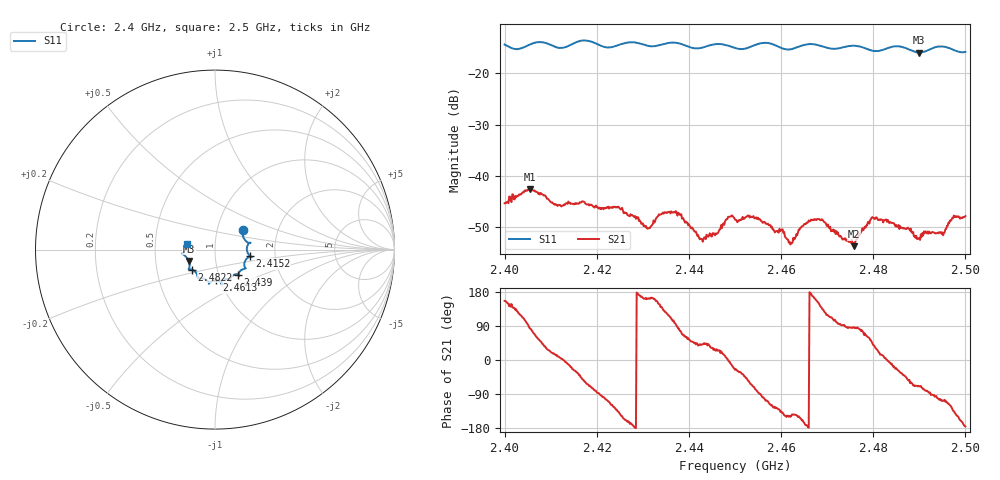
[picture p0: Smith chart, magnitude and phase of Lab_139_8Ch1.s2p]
# Hz S RI R 50
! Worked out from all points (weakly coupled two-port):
!   601 points, 2.4 GHz to 2.5 GHz, reference 50 ohm
!   highest |S21| = -42.62 dB at 2.4055 GHz (marker M1); lowest = -53.8 dB at 2.4758 GHz (marker M2)
!   lowest |S11| = -15.9 dB at 2.49 GHz (marker M3), VSWR 1.38, Z = 37 - j4.84 ohm
!   |S11| at or under -10 dB: start of sweep to end of sweep
!   S12 and S22 are empty: the file has one direction only
!   S11 on the Smith chart (normalised r, x): 2.4 GHz: 1.33, +0.31; 2.4152 GHz: 1.48, -0.11; 2.439 GHz: 1.24, -0.36; 2.4613 GHz: 0.96, -0.34; 2.4822 GHz: 0.76, -0.17; 2.5 GHz: 0.72, +0.05
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2.4e9  0.1555 0.1113  -0.00492 0.00219  0 0  0 0
2.4055e9  0.1875 0.038  0.000828 0.00735  0 0  0 0
2.411167e9  0.1795 0.0184  0.00508 0.00108  0 0  0 0
2.415167e9  0.1948 -0.0359  0.00469 -0.00248  0 0  0 0
2.416667e9  0.2045 -0.0419  0.00377 -0.00401  0 0  0 0
2.425e9  0.1654 -0.0958  -0.00377 -0.00295  0 0  0 0
2.431e9  0.148 -0.113  -0.0029 0.000932  0 0  0 0
2.433333e9  0.1325 -0.1324  -0.00346 0.00209  0 0  0 0
2.436667e9  0.1352 -0.1472  -0.0011 0.00425  0 0  0 0
2.439e9  0.1278 -0.139  0.00168 0.00323  0 0  0 0
2.442833e9  0.0914 -0.1527  0.00181 0.00158  0 0  0 0
2.45e9  0.0686 -0.1634  0.00335 -0.00161  0 0  0 0
2.455e9  0.0352 -0.1904  0.000296 -0.00388  0 0  0 0
2.461333e9  0.00773 -0.171  -0.002 -0.00133  0 0  0 0
2.4625e9  -0.00953 -0.1734  -0.00181 -0.00133  0 0  0 0
2.466667e9  -0.0337 -0.1902  -0.00362 0.000626  0 0  0 0
2.475833e9  -0.0938 -0.1608  0.000138 0.00205  0 0  0 0
2.4795e9  -0.1034 -0.1324  0.00232 0.00296  0 0  0 0
2.482167e9  -0.1282 -0.1117  0.00343 0.000676  0 0  0 0
2.483333e9  -0.1395 -0.1102  0.00354 -0.000222  0 0  0 0
2.49e9  -0.1464 -0.0638  0.000849 -0.00228  0 0  0 0
2.5e9  -0.1586 0.0338  -0.00403 -0.000323  0 0  0 0
